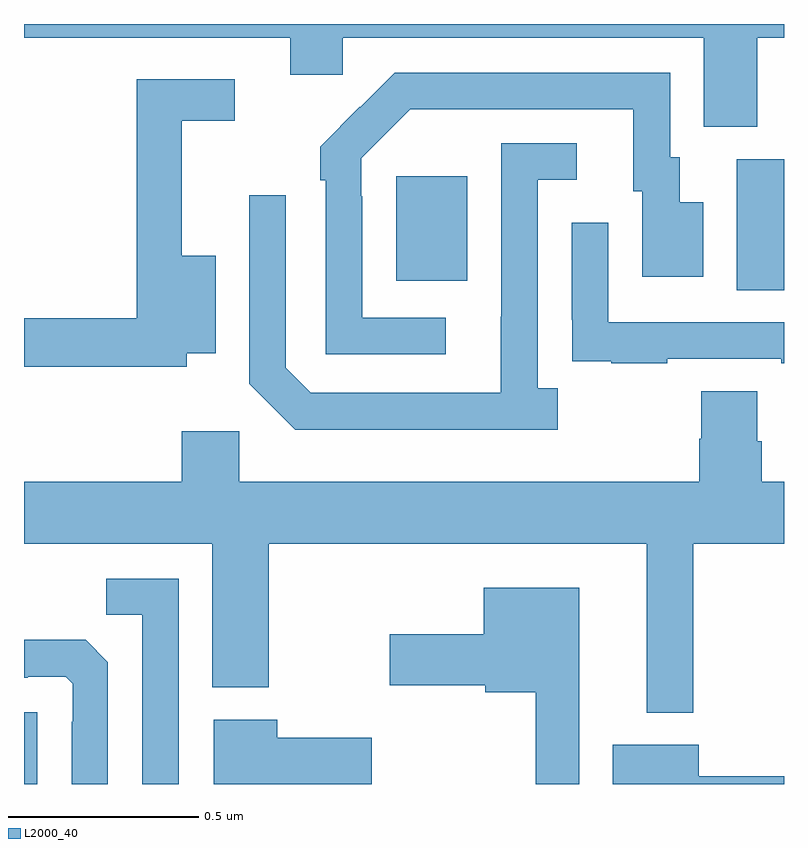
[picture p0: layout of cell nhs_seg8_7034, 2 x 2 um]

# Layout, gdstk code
import gdstk
lib = gdstk.Library(unit=1e-6, precision=1e-09)
def R(c, l, rs):  # rectangles x0, y0, x1, y1
    for r in rs: c.add(gdstk.rectangle(r[:2], r[2:], *l))
def P(c, l, *ps):  # polygons
    for p in ps: c.add(gdstk.Polygon(p, *l))
L2000_40 = (2000, 40)

nhs_seg8_7034 = lib.new_cell('nhs_seg8_7034')
R(nhs_seg8_7034, L2000_40, [(205,1083.9,205.035,1084.089), (206.876,1085.2,207,1085.544), (205.979,1085.225,206.167,1085.5)])
P(nhs_seg8_7034, L2000_40, [(206.929,1085.864),(207,1085.864),(207,1085.9),(205,1085.9),(205,1085.864),(205.7,1085.864),(205.7,1085.766),(205.839,1085.766),(205.839,1085.864),(206.789,1085.864),(206.789,1085.629),(206.929,1085.629)],
  [(206.11,1085.127),(205.89,1085.127),(205.89,1085.447),(205.887,1085.447),(205.887,1085.547),(206.016,1085.676),(206.603,1085.676),(206.603,1085.46),(206.627,1085.46),(206.627,1085.235),(206.788,1085.235),(206.788,1085.431),(206.725,1085.431),(206.725,1085.55),(206.7,1085.55),(206.7,1085.772),(205.976,1085.772),(205.885,1085.681),(205.884,1085.682),(205.779,1085.577),(205.779,1085.489),(205.794,1085.489),(205.794,1085.031),(206.11,1085.031)],
  [(205.428,1085.033),(205.504,1085.033),(205.504,1085.29),(205.415,1085.29),(205.415,1085.646),(205.555,1085.646),(205.555,1085.754),(205.297,1085.754),(205.297,1085.126),(205,1085.126),(205,1084.998),(205.428,1084.998)],
  [(206.404,1084.942),(206.352,1084.942),(206.352,1085.49),(206.455,1085.49),(206.455,1085.586),(206.256,1085.586),(206.256,1085.129),(206.255,1085.129),(206.255,1084.929),(205.755,1084.929),(205.689,1084.995),(205.689,1085.449),(205.593,1085.449),(205.593,1084.953),(205.714,1084.832),(206.404,1084.832)],
  [(206.693,1085.019),(206.993,1085.019),(206.993,1085.007),(207,1085.007),(207,1085.115),(206.538,1085.115),(206.538,1085.377),(206.442,1085.377),(206.442,1085.122),(206.443,1085.122),(206.443,1085.013),(206.545,1085.013),(206.545,1085.007),(206.693,1085.007)],
  [(206.761,1084.532),(207,1084.532),(207,1084.696),(206.942,1084.696),(206.942,1084.802),(206.929,1084.802),(206.929,1084.934),(206.782,1084.934),(206.782,1084.809),(206.777,1084.809),(206.777,1084.696),(205.566,1084.696),(205.566,1084.828),(205.415,1084.828),(205.415,1084.696),(205,1084.696),(205,1084.532),(205.496,1084.532),(205.496,1084.154),(205.644,1084.154),(205.644,1084.532),(206.639,1084.532),(206.639,1084.088),(206.761,1084.088)],
  [(205.407,1084.44),(205.216,1084.44),(205.216,1084.345),(205.311,1084.345),(205.311,1083.9),(205.407,1083.9)],
  [(206.461,1084.417),(206.21,1084.417),(206.21,1084.294),(205.962,1084.294),(205.962,1084.16),(206.214,1084.16),(206.214,1084.142),(206.347,1084.142),(206.347,1083.9),(206.461,1083.9)],
  [(205.221,1084.22),(205.162,1084.279),(205.061,1084.279),(205.061,1084.28),(205,1084.28),(205,1084.179),(205.01,1084.179),(205.01,1084.182),(205.11,1084.182),(205.128,1084.164),(205.128,1084.064),(205.125,1084.064),(205.125,1083.9),(205.221,1083.9)],
  [(205.915,1084.022),(205.666,1084.022),(205.666,1084.069),(205.499,1084.069),(205.499,1083.9),(205.915,1083.9)],
  [(207,1083.92),(206.776,1083.92),(206.776,1084.003),(206.549,1084.003),(206.549,1083.9),(207,1083.9)])

lib.write_gds('nhs_seg8_7034.gds')
